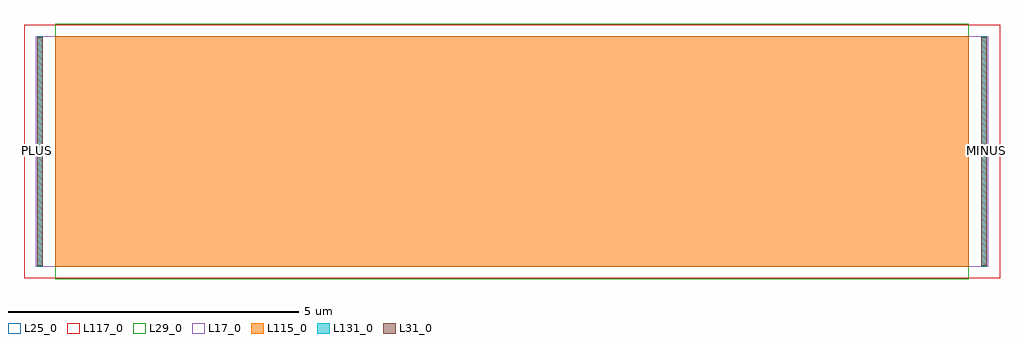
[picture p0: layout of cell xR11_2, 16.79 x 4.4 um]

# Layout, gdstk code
import gdstk
lib = gdstk.Library(unit=1e-6, precision=1e-09)
def R(c, l, rs):  # rectangles x0, y0, x1, y1
    for r in rs: c.add(gdstk.rectangle(r[:2], r[2:], *l))
L17_0 = (17, 0)
L25_0 = (25, 0)
L29_0 = (29, 0)
L31_0 = (31, 0)
L115_0 = (115, 0)
L117_0 = (117, 0)
L131_0 = (131, 0)

xr11_2 = lib.new_cell('xR11_2')
R(xr11_2, L17_0, [(0.2,0.22,16.59,4.18)])
R(xr11_2, L25_0, [(0,0.02,16.79,4.38)])
R(xr11_2, L29_0, [(0.54,0,16.25,4.4)])
R(xr11_2, L31_0, [(0.23,0.235,0.32,4.165), (16.47,0.235,16.56,4.165)])
R(xr11_2, L115_0, [(0.54,0.22,16.25,4.18)])
R(xr11_2, L117_0, [(0,0.02,16.79,4.38)])
R(xr11_2, L131_0, [(0.23,0.22,0.32,4.18), (16.47,0.22,16.56,4.18)])
xr11_2.add(gdstk.Label('PLUS', (0.23,2.215), layer=131, texttype=0))
xr11_2.add(gdstk.Label('MINUS', (16.56,2.215), layer=131, texttype=0))

lib.write_gds('xR11_2.gds')
